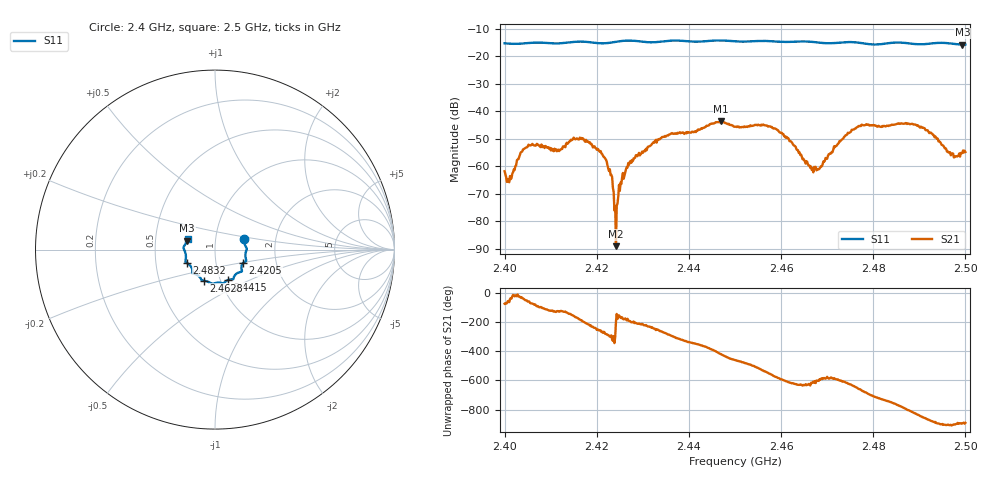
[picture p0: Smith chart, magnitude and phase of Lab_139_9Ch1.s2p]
# Hz S RI R 50
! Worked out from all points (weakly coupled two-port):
!   601 points, 2.4 GHz to 2.5 GHz, reference 50 ohm
!   highest |S21| = -43.71 dB at 2.447 GHz (marker M1); lowest = -89.1 dB at 2.4242 GHz (marker M2)
!   lowest |S11| = -15.8 dB at 2.4993 GHz (marker M3), VSWR 1.39, Z = 36.4 + j3.67 ohm
!   |S11| at or under -10 dB: start of sweep to end of sweep
!   S12 and S22 are empty: the file has one direction only
!   S11 on the Smith chart (normalised r, x): 2.4 GHz: 1.38, +0.16; 2.4205 GHz: 1.35, -0.21; 2.4415 GHz: 1.09, -0.38; 2.4628 GHz: 0.83, -0.30; 2.4832 GHz: 0.72, -0.11; 2.5 GHz: 0.73, +0.09
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2.4e9  0.1629 0.0563  0.000244 -0.000769  0 0  0 0
2.401e9  0.1633 0.0469  0.000237 -0.000451  0 0  0 0
2.4055e9  0.1751 0.0107  0.000943 -0.00218  0 0  0 0
2.411833e9  0.1692 -0.0294  -0.00116 -0.00148  0 0  0 0
2.416667e9  0.1741 -0.0625  -0.00324 0.000317  0 0  0 0
2.4205e9  0.1554 -0.0761  -0.000451 0.00182  0 0  0 0
2.422833e9  0.1472 -0.0969  0.000426 0.000767  0 0  0 0
2.424167e9  0.1477 -0.1088  -3.37e-05 9.21e-06  0 0  0 0
2.426833e9  0.1502 -0.1216  -0.00113 0.00016  0 0  0 0
2.433333e9  0.1078 -0.1471  -0.000935 0.00289  0 0  0 0
2.4415e9  0.0734 -0.1692  0.00409 0.0008  0 0  0 0
2.447e9  0.0452 -0.1886  0.00326 -0.00565  0 0  0 0
2.45e9  0.0295 -0.1848  -0.000973 -0.00514  0 0  0 0
2.4575e9  -0.0219 -0.1876  -0.00514 0.00125  0 0  0 0
2.462833e9  -0.0621 -0.1737  -0.000293 0.00235  0 0  0 0
2.466667e9  -0.0765 -0.1665  -0.000173 0.000831  0 0  0 0
2.4765e9  -0.126 -0.1262  0.00175 0.0048  0 0  0 0
2.483167e9  -0.1553 -0.0752  0.00507 -0.00196  0 0  0 0
2.483333e9  -0.1564 -0.0746  0.00492 -0.00218  0 0  0 0
2.489333e9  -0.162 -0.0378  -0.00195 -0.00525  0 0  0 0
2.499333e9  -0.1555 0.0491  -0.00172 -0.000177  0 0  0 0
2.5e9  -0.1531 0.0577  -0.00179 -0.000268  0 0  0 0
